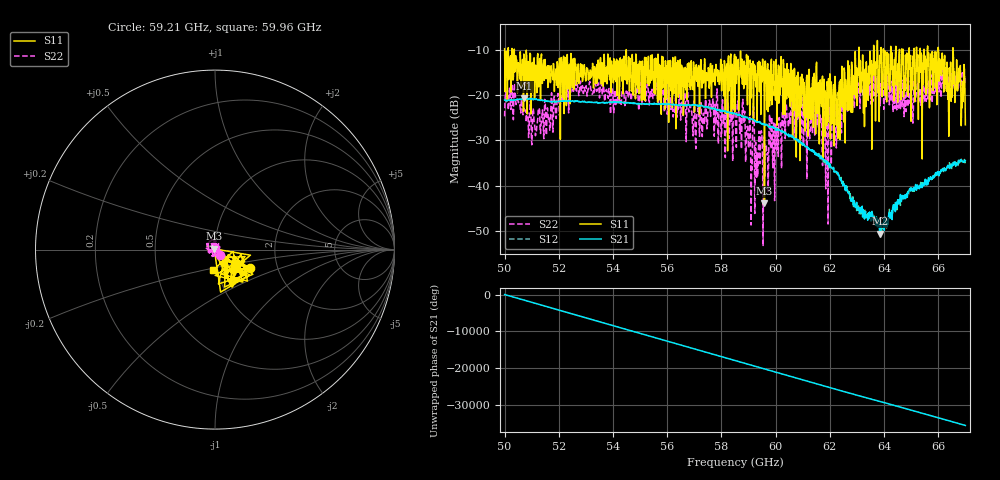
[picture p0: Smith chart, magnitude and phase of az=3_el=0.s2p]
!Created with skrf (http://scikit-rf.org).
# GHz S RI R 50.0
!freq ReS11 ImS11 ReS21 ImS21 ReS12 ImS12 ReS22 ImS22
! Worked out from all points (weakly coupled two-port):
!   1001 points, 50 GHz to 67 GHz, reference 50 ohm
!   highest |S21| = -20.65 dB at 50.73 GHz (marker M1); lowest = -50.7 dB at 63.84 GHz (marker M2)
!   lowest |S11| = -44.0 dB at 59.59 GHz (marker M3), VSWR 1.01, Z = 49.5 + j0.433 ohm
!   |S11| at or under -10 dB: 50.8 GHz to 54.49 GHz (3.688 GHz wide, 7.01 % of centre); 54.49 GHz to 63.07 GHz (8.582 GHz wide, 14.6 % of centre); 63.08 GHz to 63.61 GHz (536.8 MHz wide, 0.847 % of centre) (the widest 3 of 24)
!   |S22| runs from -53.5 to -14.1 dB; largest |S21 - S12| = 0.0022
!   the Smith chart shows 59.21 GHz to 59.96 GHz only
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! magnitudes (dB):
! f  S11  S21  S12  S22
! 50 GHz  -9.6  -21.0  -21.1  -24.7
! 50.73 GHz  -11.8  -20.7  -20.7  -23.0
! 51.62 GHz  -16.8  -21.3  -21.3  -25.6
! 52.84 GHz  -14.3  -21.4  -21.4  -19.1
! 55.68 GHz  -13.3  -21.9  -21.9  -21.9
! 56.82 GHz  -18.1  -22.1  -22.2  -22.8
! 57 GHz  -23.7  -22.2  -22.2  -21.5
! 57.62 GHz  -15.9  -22.8  -22.9  -22.3
! 58.5 GHz  -23.6  -24.1  -24.1  -24.6
! 59.59 GHz  -44.0  -26.5  -26.4  -29.4
! 60.32 GHz  -19.9  -28.2  -28.3  -23.3
! 61.34 GHz  -24.8  -32.1  -32.1  -25.6
! 61.88 GHz  -26.6  -35.3  -34.9  -23.2
! 62.53 GHz  -13.9  -39.8  -40.1  -19.2
! 63.01 GHz  -22.3  -45.0  -45.1  -19.9
! 63.84 GHz  -11.1  -50.7  -48.8  -17.8
! 64.18 GHz  -17.6  -46.1  -46.6  -18.4
! 65.1 GHz  -10.1  -40.4  -40.4  -18.4
! 66.08 GHz  -15.0  -37.0  -37.1  -15.6
! 66.42 GHz  -15.5  -36.2  -35.2  -16.2
! 66.75 GHz  -17.2  -34.4  -35.0  -18.2
! 67 GHz  -26.5  -34.5  -34.7  -15.6
